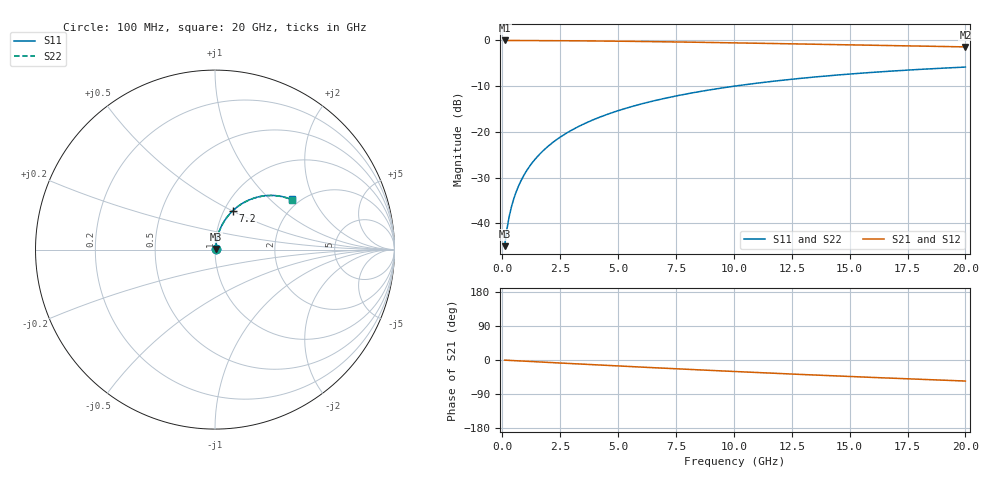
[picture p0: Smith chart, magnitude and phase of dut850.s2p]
! Touchstone file exported from HFSS 2026.1.0
!  File:  C:/ffzhzh/LocalFiles/Ansys_Project_Files/temp_train_BSMRDL_850_1783170554_18472.aedt
!  Generated:  09:10:39 PM Jul  4, 2026
!  Design:  BSMRDL
!  Project:  temp_train_BSMRDL_850_1783170554_18472
! Variables:
!  h_bsmrdl = 3.79um
!  h_ox = 20um
!  h_rdl = 5um
!  h_sub = 80um
!  h_tmrdl = 5um
!  h_tsv = 80um
!  h_via = 3um
!  l_bsmrdl = 831.4um
!  l_sub = 1231.4um
!  l_tmrdl = 200um
!  m_sub = 200um
!  pitch = 50.65um
!  r_tsv = 6um
!  s_tmrdl = 10um
!  w_bsmrdl = 19.14um
!  w_sub = 500um
!  w_tmrdl = 12um
!  x_tsv_center1 = 206um
!  x_tsv_center2 = 1056.54um
!  x_tsv_center3 = 1268.54um
!  x_tsv_center4 = 2119.08um
!  x_tsv_center5 = 2331.08um
!  x_tsv_center6 = 3181.62um
# GHz S MA R 50.000000
! Terminal data exported
! Port[1] = BSM_RDL1_1_T1
! Port[2] = BSM_RDL1_1_T2
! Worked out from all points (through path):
!   200 points, 100 MHz to 20 GHz, reference 50 ohm
!   highest |S21| = -0.04 dB at 100 MHz (marker M1); lowest = -1.4 dB at 20 GHz (marker M2)
!   group delay of S21, straight-line fit = 7.71 ps
!   lowest |S11| = -45.0 dB at 100 MHz (marker M3), VSWR 1.01, Z = 50.4 + j0.379 ohm
!   |S11| at or under -10 dB: start of sweep to 10.05 GHz
!   |S22| runs from -45.0 to -5.9 dB; largest |S21 - S12| = 3.4e-15
!   S11 on the Smith chart (normalised r, x): 100 MHz: 1.01, +0.01; 7.2 GHz: 1.10, +0.50; 20 GHz: 1.82, +1.37
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0.1  0.005642 41.7  0.9958 -0.3  0.9958 -0.3  0.005642 41.7
! Gamma 0 0 0 0
! Port Impedance 50 0 50 0
0.2  0.008648 59.1  0.9956 -0.7  0.9956 -0.7  0.008648 59.1
0.3  0.01196 66.7  0.9954 -1.0  0.9954 -1.0  0.01196 66.7
0.4  0.01533 70.9  0.9952 -1.3  0.9952 -1.3  0.01533 70.9
0.5  0.01872 73.5  0.995 -1.6  0.995 -1.6  0.01872 73.5
0.6  0.02213 75.2  0.9949 -1.9  0.9949 -1.9  0.02213 75.2
0.8  0.02897 77.4  0.9945 -2.6  0.9945 -2.6  0.02897 77.4
1.1  0.03931 78.8  0.994 -3.5  0.994 -3.5  0.03931 78.8
1.5  0.05313 79.4  0.9932 -4.8  0.9932 -4.8  0.05313 79.3
1.8  0.06348 79.2  0.9924 -5.7  0.9924 -5.7  0.06348 79.2
2.1  0.07381 78.9  0.9916 -6.7  0.9916 -6.7  0.07381 78.8
2.7  0.09432 77.7  0.9895 -8.6  0.9895 -8.6  0.09432 77.7
3.5  0.1213 75.8  0.986 -11.1  0.986 -11.1  0.1213 75.7
4.2  0.1444 73.9  0.9823 -13.3  0.9823 -13.3  0.1444 73.9
5  0.1703 71.7  0.9775 -15.7  0.9775 -15.7  0.1703 71.6
6.8  0.2258 66.6  0.9649 -21.1  0.9649 -21.1  0.2258 66.5
7.2  0.2377 65.4  0.9618 -22.3  0.9618 -22.3  0.2377 65.4
8.6  0.2775 61.5  0.9503 -26.3  0.9503 -26.3  0.2775 61.5
10.1  0.3175 57.5  0.937 -30.6  0.937 -30.6  0.3175 57.4
13.4  0.3952 48.9  0.9062 -39.4  0.9062 -39.4  0.3952 48.7
16.7  0.459 40.8  0.8755 -47.7  0.8755 -47.7  0.4591 40.6
20  0.5099 33.2  0.8472 -55.5  0.8472 -55.5  0.5099 33.0
